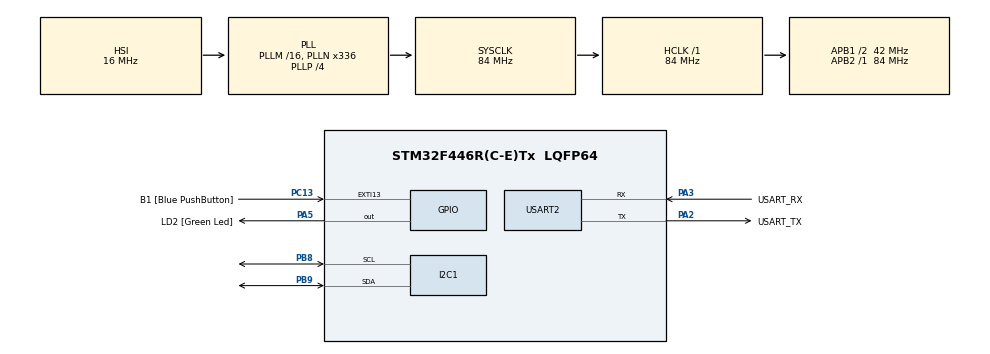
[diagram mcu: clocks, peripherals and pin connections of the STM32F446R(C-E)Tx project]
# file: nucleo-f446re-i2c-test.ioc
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Mcu.Family=STM32F4
PC15-OSC32_OUT.Mode=LSE-External-Oscillator
PH0-OSC_IN.Signal=RCC_OSC_IN
RCC.CortexFreq_Value=84000000
PC13.Signal=GPXTI13
PA14.GPIO_Label=TCK
PC13.GPIO_Label=B1 [Blue PushButton]
RCC.APB1CLKDivider=RCC_HCLK_DIV2
PC14-OSC32_IN.Signal=RCC_OSC32_IN
RCC.SYSCLKSource=RCC_SYSCLKSOURCE_PLLCLK
ProjectManager.StackSize=0x400
PA13.Signal=SYS_JTMS-SWDIO
PA3.Mode=Asynchronous
ProjectManager.TargetToolchain=STM32CubeIDE
RCC.HCLKFreq_Value=84000000
PB9.Mode=I2C
RCC.APB2TimFreq_Value=84000000
RCC.USBFreq_Value=168000000
PC15-OSC32_OUT.Signal=RCC_OSC32_OUT
RCC.AHBFreq_Value=84000000
PH0-OSC_IN.Mode=HSE-External-Oscillator
PA5.Signal=GPIO_Output
RCC.HSE_VALUE=8000000
board=NUCLEO-F446RE
RCC.VCOOutputFreq_Value=336000000
RCC.APB2Freq_Value=84000000
PC14-OSC32_IN.Mode=LSE-External-Oscillator
PA14.Mode=Serial_Wire
PH1-OSC_OUT.Signal=RCC_OSC_OUT
PA13.Mode=Serial_Wire
Mcu.Name=STM32F446R(C-E)Tx
PA2.Signal=USART2_TX
PA13.GPIO_Label=TMS
RCC.FLatency-AdvancedSettings=FLASH_LATENCY_2
I2C1.OwnAddress=0x04
PH1-OSC_OUT.Mode=HSE-External-Oscillator
RCC.48MHZClocksFreq_Value=84000000
PB3.Signal=SYS_JTDO-SWO
RCC.SYSCLKFreq_VALUE=84000000
Mcu.Package=LQFP64
PB9.Signal=I2C1_SDA
PA5.GPIO_Label=LD2 [Green Led]
PC13.GPIO_ModeDefaultEXTI=GPIO_MODE_IT_FALLING
USART2.VirtualMode=VM_ASYNC
PA2.GPIO_Label=USART_TX
PA14.Signal=SYS_JTCK-SWCLK
ProjectManager.HeapSize=0x200
RCC.HSI_VALUE=16000000
RCC.PLLP=RCC_PLLP_DIV4
NVIC.PriorityGroup=NVIC_PRIORITYGROUP_0
PB8.Mode=I2C
RCC.PLLN=336
RCC.APB1TimFreq_Value=84000000
PA2.Mode=Asynchronous
PB8.Signal=I2C1_SCL
RCC.APB1Freq_Value=42000000
PA3.GPIO_Label=USART_RX
PA3.Signal=USART2_RX
PB3.GPIO_Label=SWO

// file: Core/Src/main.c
/* USER CODE BEGIN Header */
/**
  ******************************************************************************
  * @file           : main.c
  * @brief          : Main program body
  ******************************************************************************
  * @attention
  *
  * <h2><center>&copy; Copyright (c) 2021 STMicroelectronics.
  * All rights reserved.</center></h2>
  *
  * This software component is licensed by ST under BSD 3-Clause license,
  * the "License"; You may not use this file except in compliance with the
  * License. You may obtain a copy of the License at:
  *                        opensource.org/licenses/BSD-3-Clause
  *
  ******************************************************************************
  */
/* USER CODE END Header */
#include "main.h"

/* USER CODE BEGIN Includes */
#include "stdio.h"
#include "string.h"
/* USER CODE END Includes */

I2C_HandleTypeDef hi2c1;

UART_HandleTypeDef huart2;

void SystemClock_Config(void);
static void MX_GPIO_Init(void);
static void MX_USART2_UART_Init(void);
static void MX_I2C1_Init(void);
/* USER CODE BEGIN PFP */
static void printString(char* string);
static uint8_t i2c_rx_byte_single(uint8_t* pData);
static uint8_t i2c_rx_byte_multi(uint8_t* pData, uint8_t length);
static uint8_t i2c_rx_with_stop(uint8_t* pData, char stop);
static uint8_t i2c_receive(uint8_t *pData);
/* USER CODE END PFP */

int main(void)
{
  /* USER CODE BEGIN 1 */

	uint8_t dataBuffer[256];
	uint8_t debugBuffer[256];
 	uint8_t bytes_received = 0;

  /* USER CODE END 1 */

  /* MCU Configuration--------------------------------------------------------*/

  /* Reset of all peripherals, Initializes the Flash interface and the Systick. */
  HAL_Init();

  /* Configure the system clock */
  SystemClock_Config();

  /* Initialize all configured peripherals */
  MX_GPIO_Init();
  MX_USART2_UART_Init();
  MX_I2C1_Init();
  /* USER CODE BEGIN 2 */

  printString("<begin loop>\r\n");

  /* USER CODE END 2 */

  /* Infinite loop */
  /* USER CODE BEGIN WHILE */
  while (1)
  {

	  //receive the data
	  //bytes_received += i2c_rx_with_stop(dataBuffer, '$');
	  //bytes_received += i2c_rx_with_stop(dataBuffer, '$');
	  bytes_received += i2c_receive(dataBuffer);

	  //print the data
	  memcpy(debugBuffer, dataBuffer, sizeof(dataBuffer));
	  HAL_UART_Transmit(&huart2, debugBuffer, strlen((char*)debugBuffer), HAL_MAX_DELAY);

	  //clear the data
	  memset(dataBuffer, 0, sizeof(dataBuffer));
	  memset(debugBuffer, 0, sizeof(debugBuffer));

	  //update the console
	  printString("\r\n");
	  sprintf((char*) debugBuffer, "Total Bytes Received: %d\r\n", bytes_received);
	  HAL_UART_Transmit(&huart2, debugBuffer, strlen((char*)debugBuffer), HAL_MAX_DELAY);
	  printString("...\r\n\r\n");
	  HAL_Delay(3);
    /* USER CODE END WHILE */

  }
}

void SystemClock_Config(void)
{
  RCC_OscInitTypeDef RCC_OscInitStruct = {0};
  RCC_ClkInitTypeDef RCC_ClkInitStruct = {0};

  /** Configure the main internal regulator output voltage
  */
  __HAL_RCC_PWR_CLK_ENABLE();
  __HAL_PWR_VOLTAGESCALING_CONFIG(PWR_REGULATOR_VOLTAGE_SCALE3);
  /** Initializes the RCC Oscillators according to the specified parameters
  * in the RCC_OscInitTypeDef structure.
  */
  RCC_OscInitStruct.OscillatorType = RCC_OSCILLATORTYPE_HSI;
  RCC_OscInitStruct.HSIState = RCC_HSI_ON;
  RCC_OscInitStruct.HSICalibrationValue = RCC_HSICALIBRATION_DEFAULT;
  RCC_OscInitStruct.PLL.PLLState = RCC_PLL_ON;
  RCC_OscInitStruct.PLL.PLLSource = RCC_PLLSOURCE_HSI;
  RCC_OscInitStruct.PLL.PLLM = 16;
  RCC_OscInitStruct.PLL.PLLN = 336;
  RCC_OscInitStruct.PLL.PLLP = RCC_PLLP_DIV4;
  RCC_OscInitStruct.PLL.PLLQ = 2;
  RCC_OscInitStruct.PLL.PLLR = 2;
  if (HAL_RCC_OscConfig(&RCC_OscInitStruct) != HAL_OK)
  {
    Error_Handler();
  }
  /** Initializes the CPU, AHB and APB buses clocks
  */
  RCC_ClkInitStruct.ClockType = RCC_CLOCKTYPE_HCLK|RCC_CLOCKTYPE_SYSCLK
                              |RCC_CLOCKTYPE_PCLK1|RCC_CLOCKTYPE_PCLK2;
  RCC_ClkInitStruct.SYSCLKSource = RCC_SYSCLKSOURCE_PLLCLK;
  RCC_ClkInitStruct.AHBCLKDivider = RCC_SYSCLK_DIV1;
  RCC_ClkInitStruct.APB1CLKDivider = RCC_HCLK_DIV2;
  RCC_ClkInitStruct.APB2CLKDivider = RCC_HCLK_DIV1;

  if (HAL_RCC_ClockConfig(&RCC_ClkInitStruct, FLASH_LATENCY_2) != HAL_OK)
  {
    Error_Handler();
  }
}

static void MX_I2C1_Init(void)
{

  hi2c1.Instance = I2C1;
  hi2c1.Init.ClockSpeed = 100000;
  hi2c1.Init.DutyCycle = I2C_DUTYCYCLE_2;
  hi2c1.Init.OwnAddress1 = 8;
  hi2c1.Init.AddressingMode = I2C_ADDRESSINGMODE_7BIT;
  hi2c1.Init.DualAddressMode = I2C_DUALADDRESS_DISABLE;
  hi2c1.Init.OwnAddress2 = 9;
  hi2c1.Init.GeneralCallMode = I2C_GENERALCALL_DISABLE;
  hi2c1.Init.NoStretchMode = I2C_NOSTRETCH_DISABLE;
  if (HAL_I2C_Init(&hi2c1) != HAL_OK)
  {
    Error_Handler();
  }

}

static void MX_USART2_UART_Init(void)
{

  huart2.Instance = USART2;
  huart2.Init.BaudRate = 115200;
  huart2.Init.WordLength = UART_WORDLENGTH_8B;
  huart2.Init.StopBits = UART_STOPBITS_1;
  huart2.Init.Parity = UART_PARITY_NONE;
  huart2.Init.Mode = UART_MODE_TX_RX;
  huart2.Init.HwFlowCtl = UART_HWCONTROL_NONE;
  huart2.Init.OverSampling = UART_OVERSAMPLING_16;
  if (HAL_UART_Init(&huart2) != HAL_OK)
  {
    Error_Handler();
  }

}

static void MX_GPIO_Init(void)
{
  GPIO_InitTypeDef GPIO_InitStruct = {0};

  /* GPIO Ports Clock Enable */
  __HAL_RCC_GPIOC_CLK_ENABLE();
  __HAL_RCC_GPIOH_CLK_ENABLE();
  __HAL_RCC_GPIOA_CLK_ENABLE();
  __HAL_RCC_GPIOB_CLK_ENABLE();

  /*Configure GPIO pin Output Level */
  HAL_GPIO_WritePin(LD2_GPIO_Port, LD2_Pin, GPIO_PIN_RESET);

  /*Configure GPIO pin : B1_Pin */
  GPIO_InitStruct.Pin = B1_Pin;
  GPIO_InitStruct.Mode = GPIO_MODE_IT_FALLING;
  GPIO_InitStruct.Pull = GPIO_NOPULL;
  HAL_GPIO_Init(B1_GPIO_Port, &GPIO_InitStruct);

  /*Configure GPIO pin : LD2_Pin */
  GPIO_InitStruct.Pin = LD2_Pin;
  GPIO_InitStruct.Mode = GPIO_MODE_OUTPUT_PP;
  GPIO_InitStruct.Pull = GPIO_NOPULL;
  GPIO_InitStruct.Speed = GPIO_SPEED_FREQ_LOW;
  HAL_GPIO_Init(LD2_GPIO_Port, &GPIO_InitStruct);

}

/* USER CODE BEGIN 4 */
/***************************************************************************************************/
/*
 * @brief: prints the contents of /p string to the serial monitor
 * @param: string - the string of characters to be printed
 * @return: void
 */
static void printString(char* string)
{
	uint8_t buf[strlen(string)];
	strcpy((char*)buf, string);
	HAL_UART_Transmit(&huart2, buf, strlen((char*)buf), HAL_MAX_DELAY);
}
/***************************************************************************************************/
/*
 * @brief: receive one byte from the I2C bus acting as a slave
 * 			will try again if the new-line character is received.
 * 			This makes what is being received more intuitive and
 * 			tapping enter does not break up any of the data.
 * @param: pData - the pointer to store the data received from
 * 			the I2C bus
 * @return: rx_bytes - returns 1 if succesfully received a byte,
 * 			otherwise will return 0.
 */
static uint8_t i2c_rx_byte_single(uint8_t* pData)
{
	uint8_t rx_bytes = 0;

	HAL_I2C_Slave_Receive(&hi2c1, pData, 1, HAL_MAX_DELAY);
	if( *pData == '\n')
	{
		i2c_rx_byte_single(pData);
	}
	if ( *pData != NULL )
	{
		rx_bytes = 1;
	}
	return rx_bytes;
}
/***************************************************************************************************/
/*
 * @brief: receive a number of bytes equal to the value of /p length
 * 			from the I2C bus acting as a slave. Calls i2c_rx_byte_single.
 * @param: pData - the pointer to store the data received from
 * 			the I2C bus
 * @param: length - the number of bytes to be received.
 * @return: rx_bytes - the total number of bytes succesfully received.
 */
static uint8_t i2c_rx_byte_multi(uint8_t* pData, uint8_t length)
{
	uint8_t i;
	uint8_t rx_bytes = 0;

	for( i=0; i<length; i++)
	{
		rx_bytes += i2c_rx_byte_single(pData);
		pData++;
	}
	return rx_bytes;
}
/***************************************************************************************************/
/*
 * @brief: receive bytes from the I2C bus until the /p stop condition is
 * 			received.
 * @param: pData - the pointer to store the data received from
 * 			the I2C bus
 * @param: stop - the character that will arrest the reception of data.
 * @return: rx_bytes - the total number of bytes succesfully received.
 */
static uint8_t i2c_rx_with_stop(uint8_t* pData, char stop)
{
	uint8_t rx_bytes = 0;

	while(1)
	{
		rx_bytes += i2c_rx_byte_single(pData);
		if( *pData == stop)
		{
			break;
		} else {
			pData++;
		}
	}

	return rx_bytes;
}
/***************************************************************************************************/
/*
 * @brief: receive bytes from the I2C bus that are enclosed by the
 * 			start '<' and stop '>' characters.
 * @param: pData - the pointer to store the data received from
 * 			the I2C bus.
 * @return: rx_bytes - the total number of bytes succesfully received.
 */
static uint8_t i2c_receive(uint8_t *pData)
{
	uint8_t rx_bytes = 0;
	uint8_t dataStarted = 0; //false
	uint8_t messageComplete = 0; //false
 	const static char startMarker = '<';
 	const static char endMarker = '>';

	while( !messageComplete )
	{
		rx_bytes += i2c_rx_byte_single(pData);

		if( dataStarted == 1 ) //true
		{
			if( *pData != endMarker)
			{
				pData++;
			} else {
				messageComplete = 1; //true
			}

		} else if( *pData == startMarker ){
			dataStarted = 1; //true
			pData++;
		}
	}

	return rx_bytes;
}

/* USER CODE END 4 */

void Error_Handler(void)
{
  __disable_irq();
  while (1)
  {
  }
}

/************************ (C) COPYRIGHT STMicroelectronics *****END OF FILE****/
